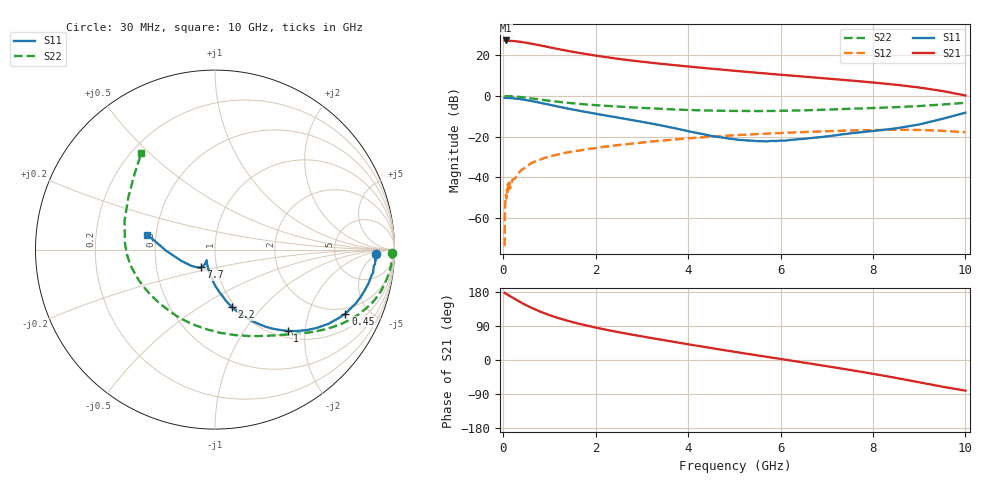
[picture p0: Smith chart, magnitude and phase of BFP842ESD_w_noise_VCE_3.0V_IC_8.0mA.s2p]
! Infineon Technologies  Discrete & RF Semiconductors
! BFP842ESD
! VCE =  3.0 V,  IC =  8.0 mA
! Common Emitter S-Parameters:  May 2012
# GHz  S  MA  R  50
!  f  S11  S21  S12  S22
! GHz  MAG  ANG  MAG  ANG  MAG  ANG  MAG  ANG
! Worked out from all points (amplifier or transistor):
!   99 points, 30 MHz to 10 GHz, reference 50 ohm
!   highest |S21| = 27.3 dB at 60 MHz (marker M1)
!   |S21| within 3 dB of that: start of sweep to 921.9 MHz
!   unconditionally stable (mu >= 1): start of sweep to 30.48 MHz; 3.228 GHz to end of sweep
!   at 350 MHz: K = 0.25, MSG = 32.1 dB, |S12| = -37.5 dB
!   at 3.5 GHz: K = 1.03, MAG = 17.8 dB, |S12| = -21.9 dB
!   at 10 GHz: K = 1.80, MAG = 3.9 dB, |S12| = -17.9 dB
!   lowest NFmin = 0.54 dB at 450 MHz
!   S11 on the Smith chart (normalised r, x): 30 MHz: 17, -5; 450 MHz: 1.71, -3.54; 1 GHz: 1.13, -1.62; 2.2 GHz: 0.96, -0.69; 7.7 GHz: 0.84, -0.17; 10 GHz: 0.45, +0.09
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0.03  0.8965 -1.7  23.17 177.1  0.0002 19.3  0.9863 -1.0
0.04  0.8975 -2.2  23.07 176.2  0.002 92.4  0.9879 -1.2
0.06  0.8982 -3.7  23.25 174.7  0.0037 102.4  0.9921 -2.4
0.09  0.8946 -5.2  22.73 172.9  0.0042 11.7  0.9865 -3.7
0.11  0.8899 -6.9  23.09 171.1  0.005 72.3  0.9857 -4.9
0.25  0.8655 -15.0  22.4 161.2  0.0091 82.1  0.9643 -11.3
0.45  0.8096 -26.1  20.8 147.6  0.0165 73.2  0.918 -19.5
0.6  0.7546 -33.3  19.41 138.5  0.022 65.8  0.8739 -24.7
0.7  0.7171 -37.4  18.48 133.1  0.0246 64.9  0.8443 -27.8
1  0.6082 -48.2  15.8 118.5  0.0318 60.5  0.7614 -35.5
1.2  0.5443 -54.0  14.21 110.4  0.0364 56.7  0.7162 -39.7
1.4  0.489 -58.8  12.87 103.3  0.041 54.0  0.6764 -43.4
1.7  0.4193 -65.0  11.18 94.0  0.0463 50.8  0.6289 -48.5
2.2  0.333 -73.6  9.123 80.5  0.0565 46.1  0.5732 -56.7
2.7  0.2645 -80.5  7.647 68.8  0.0653 41.5  0.5308 -65.1
3.4  0.1893 -91.4  6.215 54.0  0.0791 34.6  0.4827 -78.8
4.2  0.1214 -106.7  5.053 37.5  0.0943 25.5  0.4439 -97.1
5.1  0.0828 -123.5  4.075 19.8  0.1091 13.8  0.4271 -118.1
6.7  0.0927 -125.2  2.866 -10.5  0.1316 -7.3  0.4493 -153.4
7.7  0.1261 -128.5  2.301 -30.2  0.1423 -22.9  0.4915 -177.4
8.5  0.159 -145.1  1.885 -47.3  0.1464 -37.3  0.5288 162.3
10  0.3865 167.5  1.028 -80.9  0.1273 -68.9  0.677 127.3
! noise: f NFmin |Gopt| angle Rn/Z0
0.45  0.54  0.21  2  0.1
0.9  0.55  0.22  7  0.1
1.5  0.57  0.23  18  0.09
1.9  0.58  0.22  25  0.09
2.4  0.59  0.18  33  0.08
3.5  0.67  0.11  86  0.08
4  0.7  0.1  115  0.08
5  0.76  0.11  136  0.08
5.5  0.88  0.11  162  0.07
6  0.99  0.11  178  0.06
